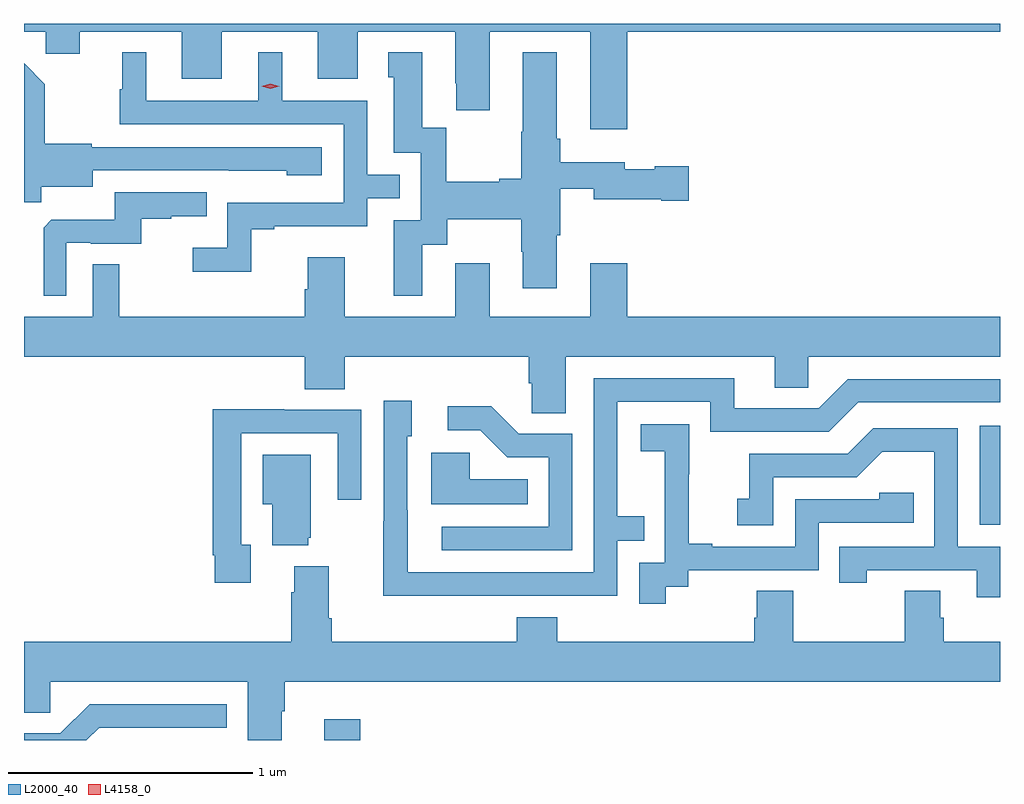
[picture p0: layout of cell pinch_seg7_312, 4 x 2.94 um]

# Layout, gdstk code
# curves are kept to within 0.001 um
import gdstk
lib = gdstk.Library(unit=1e-6, precision=1e-09)
def R(c, l, rs):  # rectangles x0, y0, x1, y1
    for r in rs: c.add(gdstk.rectangle(r[:2], r[2:], *l))
def P(c, l, *ps):  # polygons
    for p in ps: c.add(gdstk.Polygon(p, *l))
L2000_40 = (2000, 40)
L4158_0 = (4158, 0)

pinch_seg7_312 = lib.new_cell('pinch_seg7_312')
R(pinch_seg7_312, L2000_40, [(408.218,1078.964,408.365,1079.05), (410.904,1079.847,410.987,1080.253)])
P(pinch_seg7_312, L2000_40, [(409.46,1081.868),(410.987,1081.868),(410.987,1081.9),(406.987,1081.9),(406.987,1081.868),(407.077,1081.868),(407.077,1081.778),(407.215,1081.778),(407.215,1081.868),(407.633,1081.868),(407.633,1081.674),(407.797,1081.674),(407.797,1081.868),(408.191,1081.868),(408.191,1081.674),(408.355,1081.674),(408.355,1081.868),(408.755,1081.868),(408.755,1081.657),(408.758,1081.657),(408.758,1081.545),(408.895,1081.545),(408.895,1081.868),(409.307,1081.868),(409.307,1081.467),(409.46,1081.467)],
  [(408.619,1080.994),(408.721,1080.994),(408.721,1081.1),(409.024,1081.1),(409.024,1080.966),(409.031,1080.966),(409.031,1080.816),(409.171,1080.816),(409.171,1081.034),(409.184,1081.034),(409.184,1081.224),(409.322,1081.224),(409.322,1081.181),(409.598,1081.181),(409.598,1081.174),(409.711,1081.174),(409.711,1081.316),(409.572,1081.316),(409.572,1081.303),(409.45,1081.303),(409.45,1081.333),(409.184,1081.333),(409.184,1081.429),(409.171,1081.429),(409.171,1081.783),(409.031,1081.783),(409.031,1081.457),(409.024,1081.457),(409.024,1081.265),(408.935,1081.265),(408.935,1081.252),(408.717,1081.252),(408.717,1081.475),(408.619,1081.475),(408.619,1081.783),(408.479,1081.783),(408.479,1081.68),(408.503,1081.68),(408.503,1081.371),(408.612,1081.371),(408.612,1081.095),(408.503,1081.095),(408.503,1080.786),(408.619,1080.786)],
  [(407.919,1081.059),(408.013,1081.059),(408.013,1081.071),(408.393,1081.071),(408.393,1081.185),(408.527,1081.185),(408.527,1081.281),(408.393,1081.281),(408.393,1081.584),(408.046,1081.584),(408.046,1081.783),(407.948,1081.783),(407.948,1081.584),(407.488,1081.584),(407.488,1081.783),(407.39,1081.783),(407.39,1081.632),(407.379,1081.632),(407.379,1081.488),(408.297,1081.488),(408.297,1081.167),(407.82,1081.167),(407.82,1080.982),(407.679,1080.982),(407.679,1080.884),(407.919,1080.884)],
  [(407.058,1081.232),(407.269,1081.232),(407.269,1081.299),(408.063,1081.298),(408.063,1081.28),(408.208,1081.28),(408.208,1081.395),(407.265,1081.395),(407.265,1081.408),(407.073,1081.408),(407.073,1081.653),(406.987,1081.739),(406.987,1081.168),(407.058,1081.168)],
  [(407.16,1081.002),(407.26,1081.002),(407.26,1080.999),(407.468,1080.999),(407.468,1081.101),(407.591,1081.101),(407.591,1081.112),(407.735,1081.112),(407.735,1081.209),(407.358,1081.209),(407.358,1081.097),(407.099,1081.097),(407.067,1081.065),(407.067,1080.785),(407.16,1080.785)],
  [(409.207,1080.536),(410.063,1080.536),(410.063,1080.409),(410.202,1080.409),(410.202,1080.536),(410.987,1080.536),(410.987,1080.7),(409.46,1080.7),(409.46,1080.919),(409.307,1080.919),(409.307,1080.7),(408.895,1080.7),(408.895,1080.919),(408.755,1080.919),(408.755,1080.7),(408.301,1080.7),(408.301,1080.943),(408.149,1080.943),(408.149,1080.813),(408.137,1080.813),(408.137,1080.7),(407.377,1080.7),(407.377,1080.914),(407.268,1080.914),(407.268,1080.7),(406.987,1080.7),(406.987,1080.536),(408.137,1080.536),(408.137,1080.403),(408.302,1080.403),(408.302,1080.536),(409.055,1080.536),(409.055,1080.427),(409.068,1080.427),(409.068,1080.304),(409.207,1080.304)],
  [(408.923,1079.556),(409.419,1079.556),(409.419,1079.781),(409.529,1079.781),(409.529,1079.882),(409.419,1079.882),(409.419,1080.351),(409.8,1080.351),(409.8,1080.228),(410.286,1080.228),(410.406,1080.348),(410.987,1080.348),(410.987,1080.444),(410.364,1080.444),(410.244,1080.324),(409.897,1080.324),(409.897,1080.447),(409.323,1080.447),(409.323,1079.652),(408.559,1079.652),(408.558,1080.21),(408.577,1080.21),(408.577,1080.355),(408.462,1080.355),(408.462,1079.861),(408.46,1079.861),(408.46,1079.555)],
  [(409.233,1080.219),(409.014,1080.219),(408.901,1080.332),(408.723,1080.332),(408.723,1080.234),(408.857,1080.234),(408.968,1080.123),(409.137,1080.123),(409.137,1079.838),(408.699,1079.838),(408.699,1079.742),(409.233,1079.742)],
  [(407.917,1079.766),(407.877,1079.766),(407.877,1080.222),(408.273,1080.222),(408.273,1079.949),(408.369,1079.949),(408.369,1080.318),(408.053,1080.318),(408.053,1080.32),(407.761,1080.32),(407.761,1079.722),(407.769,1079.722),(407.769,1079.61),(407.917,1079.61)],
  [(409.618,1079.593),(409.71,1079.593),(409.71,1079.661),(410.244,1079.661),(410.244,1079.856),(410.633,1079.856),(410.633,1079.979),(410.493,1079.979),(410.493,1079.952),(410.148,1079.952),(410.148,1079.757),(409.807,1079.757),(409.807,1079.77),(409.712,1079.77),(409.712,1080.053),(409.713,1080.053),(409.713,1080.259),(409.515,1080.259),(409.515,1080.149),(409.613,1080.149),(409.613,1079.921),(409.614,1079.921),(409.614,1079.691),(409.509,1079.691),(409.509,1079.523),(409.618,1079.523)],
  [(410.987,1079.757),(410.814,1079.757),(410.814,1080.243),(410.468,1080.243),(410.363,1080.138),(409.96,1080.138),(409.96,1079.953),(409.911,1079.953),(409.911,1079.844),(410.058,1079.844),(410.058,1080.042),(410.4,1080.042),(410.504,1080.146),(410.718,1080.146),(410.718,1079.757),(410.329,1079.757),(410.329,1079.61),(410.44,1079.61),(410.44,1079.661),(410.891,1079.661),(410.891,1079.55),(410.987,1079.55)],
  [(409.052,1080.034),(408.813,1080.034),(408.813,1080.142),(408.656,1080.142),(408.656,1079.93),(409.052,1079.93)],
  [(408.152,1079.793),(408.163,1079.793),(408.163,1080.133),(407.966,1080.133),(407.966,1079.93),(408.005,1079.93),(408.005,1079.762),(408.152,1079.762)],
  [(408.043,1079.082),(408.056,1079.082),(408.056,1079.204),(410.987,1079.204),(410.987,1079.368),(410.756,1079.368),(410.756,1079.466),(410.743,1079.466),(410.743,1079.576),(410.596,1079.576),(410.596,1079.368),(410.139,1079.368),(410.139,1079.576),(409.991,1079.576),(409.991,1079.466),(409.979,1079.466),(409.979,1079.368),(409.172,1079.368),(409.172,1079.467),(409.007,1079.467),(409.007,1079.368),(408.248,1079.368),(408.248,1079.464),(408.235,1079.464),(408.235,1079.677),(408.095,1079.677),(408.095,1079.57),(408.083,1079.57),(408.083,1079.368),(406.987,1079.368),(406.987,1079.077),(407.094,1079.077),(407.094,1079.204),(407.903,1079.204),(407.903,1078.964),(408.043,1078.964)],
  [(407.295,1079.016),(407.818,1079.016),(407.818,1079.112),(407.256,1079.112),(407.136,1078.992),(406.987,1078.992),(406.987,1078.964),(407.243,1078.964)])
P(pinch_seg7_312, L4158_0, [(407.997,1081.634),(407.961,1081.644),(407.961,1081.644),(407.961,1081.644),(407.997,1081.654),(408.033,1081.644),(408.033,1081.644),(408.033,1081.644)])

lib.write_gds('pinch_seg7_312.gds')
